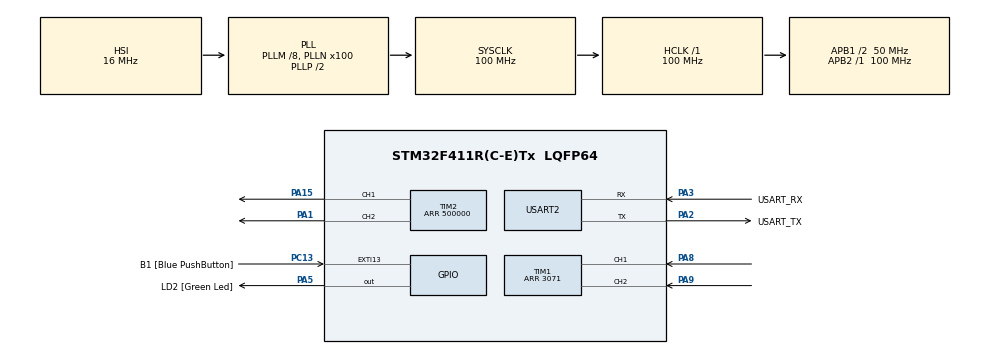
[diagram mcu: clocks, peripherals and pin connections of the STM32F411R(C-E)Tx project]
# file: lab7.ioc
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Mcu.Family=STM32F4
Mcu.Name=STM32F411R(C-E)Tx
Mcu.Package=LQFP64
NVIC.PriorityGroup=NVIC_PRIORITYGROUP_0
NVIC.TIM5_IRQn=true\:0\:0\:false\:false\:true\:true\:true
PA1.Signal=S_TIM2_CH2
PA13.GPIO_Label=TMS
PA13.Mode=Serial_Wire
PA13.Signal=SYS_JTMS-SWDIO
PA14.GPIO_Label=TCK
PA14.Mode=Serial_Wire
PA14.Signal=SYS_JTCK-SWCLK
PA15.Signal=S_TIM2_CH1_ETR
PA2.GPIO_Label=USART_TX
PA2.Mode=Asynchronous
PA2.Signal=USART2_TX
PA3.GPIO_Label=USART_RX
PA3.Mode=Asynchronous
PA3.Signal=USART2_RX
PA5.GPIO_Label=LD2 [Green Led]
PA5.Signal=GPIO_Output
PA8.Signal=S_TIM1_CH1
PA9.Signal=S_TIM1_CH2
PB3.GPIO_Label=SWO
PB3.Signal=SYS_JTDO-SWO
PC13-ANTI_TAMP.GPIO_Label=B1 [Blue PushButton]
PC13-ANTI_TAMP.GPIO_ModeDefaultEXTI=GPIO_MODE_IT_FALLING
PC13-ANTI_TAMP.Signal=GPXTI13
PC14-OSC32_IN.Mode=LSE-External-Oscillator
PC14-OSC32_IN.Signal=RCC_OSC32_IN
PC15-OSC32_OUT.Mode=LSE-External-Oscillator
PC15-OSC32_OUT.Signal=RCC_OSC32_OUT
PH0\ -\ OSC_IN.Mode=HSE-External-Clock-Source
PH0\ -\ OSC_IN.Signal=RCC_OSC_IN
PH1\ -\ OSC_OUT.Mode=HSE-External-Clock-Source
PH1\ -\ OSC_OUT.Signal=RCC_OSC_OUT
ProjectManager.HeapSize=0x200
ProjectManager.StackSize=0x400
ProjectManager.TargetToolchain=STM32CubeIDE
RCC.48MHZClocksFreq_Value=50000000
RCC.AHBFreq_Value=100000000
RCC.APB1CLKDivider=RCC_HCLK_DIV2
RCC.APB1Freq_Value=50000000
RCC.APB1TimFreq_Value=100000000
RCC.APB2Freq_Value=100000000
RCC.APB2TimFreq_Value=100000000
RCC.CortexFreq_Value=100000000
RCC.FLatency-AdvancedSettings=FLASH_LATENCY_3
RCC.HCLKFreq_Value=100000000
RCC.HSE_VALUE=8000000
RCC.HSI_VALUE=16000000
RCC.PLLM=8
RCC.PLLN=100
RCC.SYSCLKFreq_VALUE=100000000
RCC.SYSCLKSource=RCC_SYSCLKSOURCE_PLLCLK
RCC.VCOOutputFreq_Value=200000000
SH.S_TIM1_CH1.0=TIM1_CH1,Encoder_Interface
SH.S_TIM1_CH2.0=TIM1_CH2,Encoder_Interface
SH.S_TIM2_CH1_ETR.0=TIM2_CH1,PWM Generation1 CH1
SH.S_TIM2_CH2.0=TIM2_CH2,PWM Generation2 CH2
TIM1.EncoderMode=TIM_ENCODERMODE_TI12
TIM1.Period=3071
TIM2.Channel-PWM\ Generation1\ CH1=TIM_CHANNEL_1
TIM2.Channel-PWM\ Generation2\ CH2=TIM_CHANNEL_2
TIM2.Period=500000
TIM5.Prescaler=99
USART2.VirtualMode=VM_ASYNC
VP_TIM2_VS_ClockSourceINT.Mode=Internal
VP_TIM5_VS_ClockSourceINT.Mode=Internal
board=NUCLEO-F411RE

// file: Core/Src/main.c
/* USER CODE BEGIN Header */
/**
 ******************************************************************************
 * @file           : main.c
 * @brief          : Main program body
 ******************************************************************************
 * @attention
 *
 * <h2><center>&copy; Copyright (c) 2021 STMicroelectronics.
 * All rights reserved.</center></h2>
 *
 * This software component is licensed by ST under BSD 3-Clause license,
 * the "License"; You may not use this file except in compliance with the
 * License. You may obtain a copy of the License at:
 *                        opensource.org/licenses/BSD-3-Clause
 *
 ******************************************************************************
 */
/* USER CODE END Header */
#include "main.h"

TIM_HandleTypeDef htim1;
TIM_HandleTypeDef htim2;
TIM_HandleTypeDef htim5;

UART_HandleTypeDef huart2;

/* USER CODE BEGIN PV */
uint64_t _micros = 0;
float EncoderVel = 0;
float Omega = 0;
float RPM = 0;
float PWM_Out_1 = 0;
float PWM_Out_2 = 0;
float Error = 0;
float Last_Error = 0;
float Setpoint = 0;
float P = 0;
float I = 0;
float D = 0;
float Kp = 4;
float Ki = 0.0015;
float Kd = 0.004;
float Mix_PID = 0;
float Sum_Error = 0;
uint64_t Timestamp_Encoder = 0;
/* USER CODE END PV */

void SystemClock_Config(void);
static void MX_GPIO_Init(void);
static void MX_USART2_UART_Init(void);
static void MX_TIM1_Init(void);
static void MX_TIM2_Init(void);
static void MX_TIM5_Init(void);
/* USER CODE BEGIN PFP */
uint64_t micros();
float EncoderVelocity_Update();

/* USER CODE END PFP */

int main(void)
{

  /* MCU Configuration--------------------------------------------------------*/

  /* Reset of all peripherals, Initializes the Flash interface and the Systick. */
  HAL_Init();

  /* Configure the system clock */
  SystemClock_Config();

  /* Initialize all configured peripherals */
  MX_GPIO_Init();
  MX_USART2_UART_Init();
  MX_TIM1_Init();
  MX_TIM2_Init();
  MX_TIM5_Init();
  /* USER CODE BEGIN 2 */

	HAL_TIM_Base_Start_IT(&htim2);
	HAL_TIM_Base_Start_IT(&htim5);
	HAL_TIM_Encoder_Start(&htim1, TIM_CHANNEL_ALL);
	HAL_TIM_PWM_Start(&htim2, TIM_CHANNEL_1);
	HAL_TIM_PWM_Start(&htim2, TIM_CHANNEL_2);

  /* USER CODE END 2 */

  /* Infinite loop */
	while (1)
	{

    /* USER CODE BEGIN 3 */

		if (micros() - Timestamp_Encoder >= 1000)
		{
			Timestamp_Encoder = micros();
			EncoderVel = (EncoderVel * 99 + EncoderVelocity_Update()) / 100.0;
			Omega = EncoderVel / 3072;
			RPM = Omega * 60;
			Error = Setpoint - RPM;
			Last_Error = Error;
			Sum_Error += Error;
			P = Kp * Error;
			I = Ki * Sum_Error;
			D = Kd * (Error - Last_Error);
			Mix_PID = P + I + D;

			if(Setpoint > 0)
			{
				PWM_Out_1 += Mix_PID;
				PWM_Out_2 = 0;
			}
			if(Setpoint < 0)
			{
				PWM_Out_1 = 0;
				PWM_Out_2 -= Mix_PID;
			}
			if(Setpoint == 0)
			{
				PWM_Out_1 = 0;
				PWM_Out_2 = 0;
			}

			__HAL_TIM_SET_COMPARE(&htim2, TIM_CHANNEL_1, PWM_Out_1);
			__HAL_TIM_SET_COMPARE(&htim2, TIM_CHANNEL_2, PWM_Out_2);
		}

	}
  /* USER CODE END 3 */
}

void SystemClock_Config(void)
{
  RCC_OscInitTypeDef RCC_OscInitStruct = {0};
  RCC_ClkInitTypeDef RCC_ClkInitStruct = {0};

  /** Configure the main internal regulator output voltage
  */
  __HAL_RCC_PWR_CLK_ENABLE();
  __HAL_PWR_VOLTAGESCALING_CONFIG(PWR_REGULATOR_VOLTAGE_SCALE1);
  /** Initializes the RCC Oscillators according to the specified parameters
  * in the RCC_OscInitTypeDef structure.
  */
  RCC_OscInitStruct.OscillatorType = RCC_OSCILLATORTYPE_HSI;
  RCC_OscInitStruct.HSIState = RCC_HSI_ON;
  RCC_OscInitStruct.HSICalibrationValue = RCC_HSICALIBRATION_DEFAULT;
  RCC_OscInitStruct.PLL.PLLState = RCC_PLL_ON;
  RCC_OscInitStruct.PLL.PLLSource = RCC_PLLSOURCE_HSI;
  RCC_OscInitStruct.PLL.PLLM = 8;
  RCC_OscInitStruct.PLL.PLLN = 100;
  RCC_OscInitStruct.PLL.PLLP = RCC_PLLP_DIV2;
  RCC_OscInitStruct.PLL.PLLQ = 4;
  if (HAL_RCC_OscConfig(&RCC_OscInitStruct) != HAL_OK)
  {
    Error_Handler();
  }
  /** Initializes the CPU, AHB and APB buses clocks
  */
  RCC_ClkInitStruct.ClockType = RCC_CLOCKTYPE_HCLK|RCC_CLOCKTYPE_SYSCLK
                              |RCC_CLOCKTYPE_PCLK1|RCC_CLOCKTYPE_PCLK2;
  RCC_ClkInitStruct.SYSCLKSource = RCC_SYSCLKSOURCE_PLLCLK;
  RCC_ClkInitStruct.AHBCLKDivider = RCC_SYSCLK_DIV1;
  RCC_ClkInitStruct.APB1CLKDivider = RCC_HCLK_DIV2;
  RCC_ClkInitStruct.APB2CLKDivider = RCC_HCLK_DIV1;

  if (HAL_RCC_ClockConfig(&RCC_ClkInitStruct, FLASH_LATENCY_3) != HAL_OK)
  {
    Error_Handler();
  }
}

static void MX_TIM1_Init(void)
{

  TIM_Encoder_InitTypeDef sConfig = {0};
  TIM_MasterConfigTypeDef sMasterConfig = {0};

  htim1.Instance = TIM1;
  htim1.Init.Prescaler = 0;
  htim1.Init.CounterMode = TIM_COUNTERMODE_UP;
  htim1.Init.Period = 3071;
  htim1.Init.ClockDivision = TIM_CLOCKDIVISION_DIV1;
  htim1.Init.RepetitionCounter = 0;
  htim1.Init.AutoReloadPreload = TIM_AUTORELOAD_PRELOAD_DISABLE;
  sConfig.EncoderMode = TIM_ENCODERMODE_TI12;
  sConfig.IC1Polarity = TIM_ICPOLARITY_RISING;
  sConfig.IC1Selection = TIM_ICSELECTION_DIRECTTI;
  sConfig.IC1Prescaler = TIM_ICPSC_DIV1;
  sConfig.IC1Filter = 0;
  sConfig.IC2Polarity = TIM_ICPOLARITY_RISING;
  sConfig.IC2Selection = TIM_ICSELECTION_DIRECTTI;
  sConfig.IC2Prescaler = TIM_ICPSC_DIV1;
  sConfig.IC2Filter = 0;
  if (HAL_TIM_Encoder_Init(&htim1, &sConfig) != HAL_OK)
  {
    Error_Handler();
  }
  sMasterConfig.MasterOutputTrigger = TIM_TRGO_RESET;
  sMasterConfig.MasterSlaveMode = TIM_MASTERSLAVEMODE_DISABLE;
  if (HAL_TIMEx_MasterConfigSynchronization(&htim1, &sMasterConfig) != HAL_OK)
  {
    Error_Handler();
  }

}

static void MX_TIM2_Init(void)
{

  TIM_ClockConfigTypeDef sClockSourceConfig = {0};
  TIM_MasterConfigTypeDef sMasterConfig = {0};
  TIM_OC_InitTypeDef sConfigOC = {0};

  htim2.Instance = TIM2;
  htim2.Init.Prescaler = 0;
  htim2.Init.CounterMode = TIM_COUNTERMODE_UP;
  htim2.Init.Period = 500000;
  htim2.Init.ClockDivision = TIM_CLOCKDIVISION_DIV1;
  htim2.Init.AutoReloadPreload = TIM_AUTORELOAD_PRELOAD_DISABLE;
  if (HAL_TIM_Base_Init(&htim2) != HAL_OK)
  {
    Error_Handler();
  }
  sClockSourceConfig.ClockSource = TIM_CLOCKSOURCE_INTERNAL;
  if (HAL_TIM_ConfigClockSource(&htim2, &sClockSourceConfig) != HAL_OK)
  {
    Error_Handler();
  }
  if (HAL_TIM_PWM_Init(&htim2) != HAL_OK)
  {
    Error_Handler();
  }
  sMasterConfig.MasterOutputTrigger = TIM_TRGO_RESET;
  sMasterConfig.MasterSlaveMode = TIM_MASTERSLAVEMODE_DISABLE;
  if (HAL_TIMEx_MasterConfigSynchronization(&htim2, &sMasterConfig) != HAL_OK)
  {
    Error_Handler();
  }
  sConfigOC.OCMode = TIM_OCMODE_PWM1;
  sConfigOC.Pulse = 0;
  sConfigOC.OCPolarity = TIM_OCPOLARITY_HIGH;
  sConfigOC.OCFastMode = TIM_OCFAST_DISABLE;
  if (HAL_TIM_PWM_ConfigChannel(&htim2, &sConfigOC, TIM_CHANNEL_1) != HAL_OK)
  {
    Error_Handler();
  }
  if (HAL_TIM_PWM_ConfigChannel(&htim2, &sConfigOC, TIM_CHANNEL_2) != HAL_OK)
  {
    Error_Handler();
  }
  HAL_TIM_MspPostInit(&htim2);

}

static void MX_TIM5_Init(void)
{

  TIM_ClockConfigTypeDef sClockSourceConfig = {0};
  TIM_MasterConfigTypeDef sMasterConfig = {0};

  htim5.Instance = TIM5;
  htim5.Init.Prescaler = 99;
  htim5.Init.CounterMode = TIM_COUNTERMODE_UP;
  htim5.Init.Period = 4294967295;
  htim5.Init.ClockDivision = TIM_CLOCKDIVISION_DIV1;
  htim5.Init.AutoReloadPreload = TIM_AUTORELOAD_PRELOAD_DISABLE;
  if (HAL_TIM_Base_Init(&htim5) != HAL_OK)
  {
    Error_Handler();
  }
  sClockSourceConfig.ClockSource = TIM_CLOCKSOURCE_INTERNAL;
  if (HAL_TIM_ConfigClockSource(&htim5, &sClockSourceConfig) != HAL_OK)
  {
    Error_Handler();
  }
  sMasterConfig.MasterOutputTrigger = TIM_TRGO_RESET;
  sMasterConfig.MasterSlaveMode = TIM_MASTERSLAVEMODE_DISABLE;
  if (HAL_TIMEx_MasterConfigSynchronization(&htim5, &sMasterConfig) != HAL_OK)
  {
    Error_Handler();
  }

}

static void MX_USART2_UART_Init(void)
{

  huart2.Instance = USART2;
  huart2.Init.BaudRate = 115200;
  huart2.Init.WordLength = UART_WORDLENGTH_8B;
  huart2.Init.StopBits = UART_STOPBITS_1;
  huart2.Init.Parity = UART_PARITY_NONE;
  huart2.Init.Mode = UART_MODE_TX_RX;
  huart2.Init.HwFlowCtl = UART_HWCONTROL_NONE;
  huart2.Init.OverSampling = UART_OVERSAMPLING_16;
  if (HAL_UART_Init(&huart2) != HAL_OK)
  {
    Error_Handler();
  }

}

static void MX_GPIO_Init(void)
{
  GPIO_InitTypeDef GPIO_InitStruct = {0};

  /* GPIO Ports Clock Enable */
  __HAL_RCC_GPIOC_CLK_ENABLE();
  __HAL_RCC_GPIOH_CLK_ENABLE();
  __HAL_RCC_GPIOA_CLK_ENABLE();
  __HAL_RCC_GPIOB_CLK_ENABLE();

  /*Configure GPIO pin Output Level */
  HAL_GPIO_WritePin(LD2_GPIO_Port, LD2_Pin, GPIO_PIN_RESET);

  /*Configure GPIO pin : B1_Pin */
  GPIO_InitStruct.Pin = B1_Pin;
  GPIO_InitStruct.Mode = GPIO_MODE_IT_FALLING;
  GPIO_InitStruct.Pull = GPIO_NOPULL;
  HAL_GPIO_Init(B1_GPIO_Port, &GPIO_InitStruct);

  /*Configure GPIO pin : LD2_Pin */
  GPIO_InitStruct.Pin = LD2_Pin;
  GPIO_InitStruct.Mode = GPIO_MODE_OUTPUT_PP;
  GPIO_InitStruct.Pull = GPIO_NOPULL;
  GPIO_InitStruct.Speed = GPIO_SPEED_FREQ_LOW;
  HAL_GPIO_Init(LD2_GPIO_Port, &GPIO_InitStruct);

}

/* USER CODE BEGIN 4 */
#define  HTIM_ENCODER htim1
#define  MAX_SUBPOSITION_OVERFLOW 1536
#define  MAX_ENCODER_PERIOD 3072

float EncoderVelocity_Update()
{
	//Save Last state
	static uint32_t EncoderLastPosition = 0;
	static uint64_t EncoderLastTimestamp = 0;

	//read data
	uint32_t EncoderNowPosition = HTIM_ENCODER.Instance->CNT;
	uint64_t EncoderNowTimestamp = micros();

	int32_t EncoderPositionDiff;
	uint64_t EncoderTimeDiff;

	EncoderTimeDiff = EncoderNowTimestamp - EncoderLastTimestamp;
	EncoderPositionDiff = EncoderNowPosition - EncoderLastPosition;

	//compensate overflow and underflow
	if (EncoderPositionDiff >= MAX_SUBPOSITION_OVERFLOW)
	{
		EncoderPositionDiff -= MAX_ENCODER_PERIOD;
	}
	else if (-EncoderPositionDiff >= MAX_SUBPOSITION_OVERFLOW)
	{
		EncoderPositionDiff += MAX_ENCODER_PERIOD;
	}

	//Update Position and time
	EncoderLastPosition = EncoderNowPosition;
	EncoderLastTimestamp = EncoderNowTimestamp;

	//Calculate velocity
	//EncoderTimeDiff is in uS
	return (EncoderPositionDiff * 1000000) / (float) EncoderTimeDiff;

}

void HAL_TIM_PeriodElapsedCallback(TIM_HandleTypeDef *htim)
{
	if (htim == &htim5)
	{
		_micros += 4294967295;
	}
}
uint64_t micros()
{
	return _micros + htim5.Instance->CNT;
}
/* USER CODE END 4 */

void Error_Handler(void)
{
	__disable_irq();
	while (1)
	{
	}
}

/************************ (C) COPYRIGHT STMicroelectronics *****END OF FILE****/
